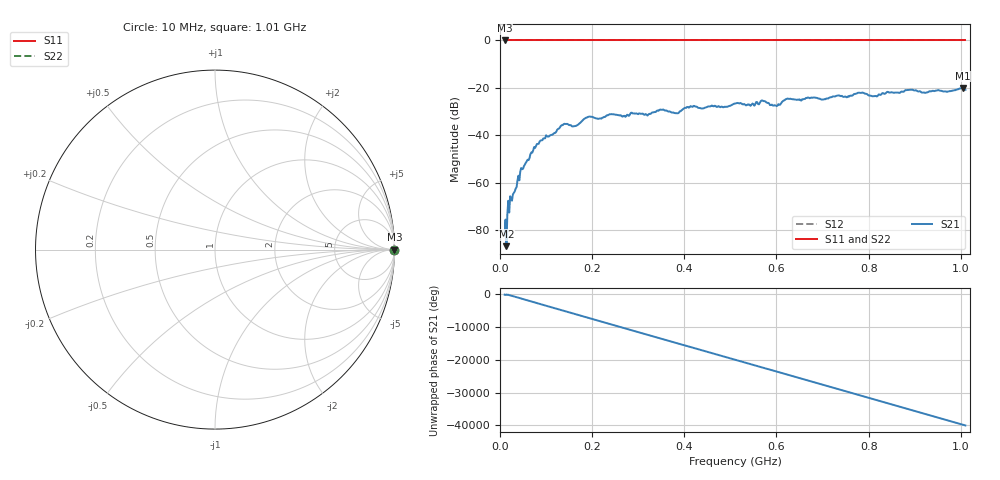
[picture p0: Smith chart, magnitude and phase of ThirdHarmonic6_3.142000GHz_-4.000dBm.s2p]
! 8/17/2025 9:22:53 AM
! C:\ANRITSUVNA\TEMP\TEMP.S2P
! CHANNEL.1
! TR.MEASUREMENT
! RAW.DATA
! RF.CORRECTION.OFF
! AVERAGING.OFF
! IF.BANDWIDTH: 5KHZ
! SWEEPTYPE:  FREQ.SWEEP(Linear)
! Reference Plane Port Info
! PORT:  PORT1  PORT2
! DISTANCE:  0  m  0  m
! TIME:  0  s  0  s
! PHASE.OFFSET:  0  deg.  0  deg.
! LOSS:  0  dB  0  dB
! REF.LOSS:  0  dB  0  dB
! REF.FREQ:  0  Hz  0  Hz
! Power Info
! POWER:  -20  dBm  -20  dBm
! EFF.POWER:  -20  dBm  -20  dBm
! SOURCE.ATTEN:  0  dB  0  dB
! TEST.ATTEN:  0  dB  0  dB
# GHZ S RI R 50.0
! FREQ.GHZ  S11RE  S11IM  S21RE  S21IM  S12RE  S12IM  S22RE  S22IM
!; PortSelection: Port_12
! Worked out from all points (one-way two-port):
!   501 points, 10 MHz to 1.01 GHz, reference 50 ohm
!   highest |S21| = -20.02 dB at 1.004 GHz (marker M1); lowest = -86.7 dB at 14 MHz (marker M2)
!   lowest |S11| = 0.0 dB at 10 MHz (marker M3)
!   |S11| at or under -10 dB: nowhere
!   |S22| runs from 0.0 to 0.0 dB; largest |S21 - S12| = 1.1
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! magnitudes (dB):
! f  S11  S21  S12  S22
! 10 MHz  0.0  -82.1  0.0  0.0
! 14 MHz  0.0  -86.7  0.0  0.0
! 20 MHz  0.0  -72.5  0.0  0.0
! 42 MHz  0.0  -58.9  0.0  0.0
! 78 MHz  0.0  -44.5  0.0  0.0
! 136 MHz  0.0  -35.7  0.0  0.0
! 162 MHz  0.0  -36.1  0.0  0.0
! 178 MHz  0.0  -33.9  0.0  0.0
! 194 MHz  0.0  -32.1  0.0  0.0
! 318 MHz  0.0  -31.2  0.0  0.0
! 344 MHz  0.0  -29.6  0.0  0.0
! 384 MHz  0.0  -30.6  0.0  0.0
! 418 MHz  0.0  -28.0  0.0  0.0
! 510 MHz  0.0  -26.6  0.0  0.0
! 570 MHz  0.0  -25.3  0.0  0.0
! 598 MHz  0.0  -27.4  0.0  0.0
! 624 MHz  0.0  -24.5  0.0  0.0
! 678 MHz  0.0  -24.2  0.0  0.0
! 814 MHz  0.0  -23.4  0.0  0.0
! 844 MHz  0.0  -21.9  0.0  0.0
! 1.004 GHz  0.0  -20.0  0.0  0.0
! 1.01 GHz  0.0  -20.8  0.0  0.0
